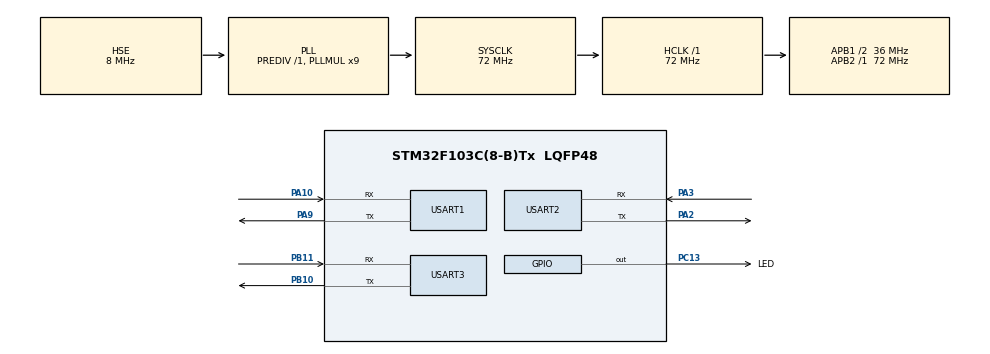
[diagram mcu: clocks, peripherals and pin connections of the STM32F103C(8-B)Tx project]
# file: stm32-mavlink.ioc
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Mcu.Family=STM32F1
Mcu.Name=STM32F103C(8-B)Tx
Mcu.Package=LQFP48
NVIC.PriorityGroup=NVIC_PRIORITYGROUP_4
NVIC.USART1_IRQn=true\:0\:0\:false\:false\:true\:true\:true\:true
NVIC.USART2_IRQn=true\:0\:0\:false\:false\:true\:true\:true\:true
PA10.Mode=Asynchronous
PA10.Signal=USART1_RX
PA13.Mode=Serial_Wire
PA13.Signal=SYS_JTMS-SWDIO
PA14.Mode=Serial_Wire
PA14.Signal=SYS_JTCK-SWCLK
PA2.Mode=Asynchronous
PA2.Signal=USART2_TX
PA3.Mode=Asynchronous
PA3.Signal=USART2_RX
PA9.Mode=Asynchronous
PA9.Signal=USART1_TX
PB10.Mode=Asynchronous
PB10.Signal=USART3_TX
PB11.Mode=Asynchronous
PB11.Signal=USART3_RX
PC13-TAMPER-RTC.GPIO_Label=LED
PC13-TAMPER-RTC.Signal=GPIO_Output
PD0-OSC_IN.Mode=HSE-External-Oscillator
PD0-OSC_IN.Signal=RCC_OSC_IN
PD1-OSC_OUT.Mode=HSE-External-Oscillator
PD1-OSC_OUT.Signal=RCC_OSC_OUT
ProjectManager.HeapSize=0x200
ProjectManager.StackSize=0x400
ProjectManager.TargetToolchain=CMake
RCC.AHBFreq_Value=72000000
RCC.APB1CLKDivider=RCC_HCLK_DIV2
RCC.APB1Freq_Value=36000000
RCC.APB1TimFreq_Value=72000000
RCC.APB2Freq_Value=72000000
RCC.APB2TimFreq_Value=72000000
RCC.HCLKFreq_Value=72000000
RCC.PLLMUL=RCC_PLL_MUL9
RCC.PLLSourceVirtual=RCC_PLLSOURCE_HSE
RCC.SYSCLKFreq_VALUE=72000000
RCC.SYSCLKSource=RCC_SYSCLKSOURCE_PLLCLK
RCC.USBFreq_Value=72000000
USART1.VirtualMode=VM_ASYNC
USART2.VirtualMode=VM_ASYNC
USART3.VirtualMode=VM_ASYNC
board=custom

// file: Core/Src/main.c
/* USER CODE BEGIN Header */
/**
  ******************************************************************************
  * @file           : main.c
  * @brief          : Main program body
  ******************************************************************************
  * @attention
  *
  * Copyright (c) 2026 STMicroelectronics.
  * All rights reserved.
  *
  * This software is licensed under terms that can be found in the LICENSE file
  * in the root directory of this software component.
  * If no LICENSE file comes with this software, it is provided AS-IS.
  *
  ******************************************************************************
  */
/* USER CODE END Header */
#include "main.h"
#include "usart.h"
#include "gpio.h"

/* USER CODE BEGIN Includes */
#include "config.h"
#include "ring_buffer.h"
#include "mavlink_handler.h"
#include "status_reporter.h"
#include <stdio.h>
/* USER CODE END Includes */

/* USER CODE BEGIN PV */
static MAVLinkBridge_t mavlink_bridge;
static StatusReporter_t status_reporter;
static uint8_t uart1_rx_byte;
static uint8_t uart2_rx_byte;
static uint8_t uart1_rx_buf[UART1_RX_BUFFER_SIZE];
static uint8_t uart2_rx_buf[UART2_RX_BUFFER_SIZE];
static RingBuffer_t rb_uart1;
static RingBuffer_t rb_uart2;
/* USER CODE END PV */

void SystemClock_Config(void);
/* USER CODE BEGIN PFP */
static bool WriteToGimbal(void *context, const uint8_t *data, uint16_t length);
static bool WriteToFlight(void *context, const uint8_t *data, uint16_t length);
static bool WriteToComputer(void *context, const uint8_t *data, uint16_t length);
/* USER CODE END PFP */

/* USER CODE BEGIN 0 */
/* Foreground blocking writes: RX interrupts remain enabled on both UARTs.
 * These HAL I/O limits are not a gimbal-link timeout policy. */
static bool WriteToGimbal(void *context, const uint8_t *data, uint16_t length) {
    (void)context;
    return HAL_UART_Transmit(&huart2, (uint8_t *)data, length, 100) == HAL_OK;
}

static bool WriteToComputer(void *context, const uint8_t *data, uint16_t length) {
    (void)context;
    return HAL_UART_Transmit(&huart3, (uint8_t *)data, length, 100) == HAL_OK;
}

static bool WriteToFlight(void *context, const uint8_t *data, uint16_t length) {
    (void)context;
    return HAL_UART_Transmit(&huart1, (uint8_t *)data, length, 100) == HAL_OK;
}

/* USER CODE END 0 */

int main(void)
{

  /* MCU Configuration--------------------------------------------------------*/

  /* Reset of all peripherals, Initializes the Flash interface and the Systick. */
  HAL_Init();

  /* Configure the system clock */
  SystemClock_Config();

  /* Initialize all configured peripherals */
  MX_GPIO_Init();
  MX_USART1_UART_Init();
  MX_USART2_UART_Init();
  MX_USART3_UART_Init();
  /* USER CODE BEGIN 2 */
    RingBuffer_Init(&rb_uart1, uart1_rx_buf, UART1_RX_BUFFER_SIZE);
    RingBuffer_Init(&rb_uart2, uart2_rx_buf, UART2_RX_BUFFER_SIZE);
    MAVLink_Init(&mavlink_bridge, WriteToFlight, WriteToGimbal, NULL);
    MAVLink_ConfigureAutomation(&mavlink_bridge, ENABLE_POINTING_AUTO_RESUME,
                                ENABLE_RANGE_REPORT);
    StatusReporter_Init(&status_reporter, WriteToComputer, NULL);
    HAL_UART_Receive_IT(&huart1, &uart1_rx_byte, 1);
    HAL_UART_Receive_IT(&huart2, &uart2_rx_byte, 1);

    MAVLink_SendHeartbeatIfDue(&mavlink_bridge, HAL_GetTick());
    char boot[192];
    int boot_length = snprintf(boot, sizeof(boot),
        "\r\n[BOOT] TZ130TM NATIVE | UART1=FC UART2=GIMBAL UART3=LOG | "
        "115200 8N1 | yaw_sign=%d pitch_sign=%d | HB=1Hz TEXT=5Hz\r\n",
        GIMBAL_YAW_SIGN, GIMBAL_PITCH_SIGN);
    if (boot_length > 0 && (size_t)boot_length < sizeof(boot)) {
        WriteToComputer(NULL, (const uint8_t *)boot, (uint16_t)boot_length);
    }
  bool reported_tx_last_loop = false;
/* USER CODE END 2 */

  /* Infinite loop */
  /* USER CODE BEGIN WHILE */
  while (1)
  {
    uint8_t byte;
    MAVLink_UpdateTime(&mavlink_bridge, HAL_GetTick());
    while (RingBuffer_Read(&rb_uart2, &byte)) {
        if (StatusReporter_FeedStatus(&status_reporter, byte)) {
            MAVLink_UpdateTime(&mavlink_bridge, HAL_GetTick());
            MAVLink_ObserveGimbal(&mavlink_bridge, &status_reporter.status);
        }
    }
    while (RingBuffer_Read(&rb_uart1, &byte)) {
        MAVLink_FeedByte(&mavlink_bridge, byte);
    }
    uint32_t now_ms = HAL_GetTick();
    MAVLink_SendHeartbeatIfDue(&mavlink_bridge, now_ms);
    /* Drain RX between a TX trace and the other debug output. */
    reported_tx_last_loop = !reported_tx_last_loop &&
        MAVLink_ReportTx(&mavlink_bridge, WriteToComputer, now_ms);
    if (!reported_tx_last_loop) {
        MAVLink_ReportControlOwner(&mavlink_bridge, WriteToComputer);
        MAVLink_Report(&mavlink_bridge, WriteToComputer, now_ms);
        StatusReporter_Report(&status_reporter, now_ms);
    }

    /* USER CODE END WHILE */

  }
}

void SystemClock_Config(void)
{
  RCC_OscInitTypeDef RCC_OscInitStruct = {0};
  RCC_ClkInitTypeDef RCC_ClkInitStruct = {0};

  /** Initializes the RCC Oscillators according to the specified parameters
  * in the RCC_OscInitTypeDef structure.
  */
  RCC_OscInitStruct.OscillatorType = RCC_OSCILLATORTYPE_HSE;
  RCC_OscInitStruct.HSEState = RCC_HSE_ON;
  RCC_OscInitStruct.HSEPredivValue = RCC_HSE_PREDIV_DIV1;
  RCC_OscInitStruct.HSIState = RCC_HSI_ON;
  RCC_OscInitStruct.PLL.PLLState = RCC_PLL_ON;
  RCC_OscInitStruct.PLL.PLLSource = RCC_PLLSOURCE_HSE;
  RCC_OscInitStruct.PLL.PLLMUL = RCC_PLL_MUL9;
  if (HAL_RCC_OscConfig(&RCC_OscInitStruct) != HAL_OK)
  {
    Error_Handler();
  }

  /** Initializes the CPU, AHB and APB buses clocks
  */
  RCC_ClkInitStruct.ClockType = RCC_CLOCKTYPE_HCLK|RCC_CLOCKTYPE_SYSCLK
                              |RCC_CLOCKTYPE_PCLK1|RCC_CLOCKTYPE_PCLK2;
  RCC_ClkInitStruct.SYSCLKSource = RCC_SYSCLKSOURCE_PLLCLK;
  RCC_ClkInitStruct.AHBCLKDivider = RCC_SYSCLK_DIV1;
  RCC_ClkInitStruct.APB1CLKDivider = RCC_HCLK_DIV2;
  RCC_ClkInitStruct.APB2CLKDivider = RCC_HCLK_DIV1;

  if (HAL_RCC_ClockConfig(&RCC_ClkInitStruct, FLASH_LATENCY_2) != HAL_OK)
  {
    Error_Handler();
  }
}

/* USER CODE BEGIN 4 */
/* Interrupts only capture bytes. Forwarding and formatting run in main(). */
void HAL_UART_RxCpltCallback(UART_HandleTypeDef *huart) {
    if (huart == &huart1) {
        RingBuffer_Write(&rb_uart1, uart1_rx_byte);
        HAL_UART_Receive_IT(&huart1, &uart1_rx_byte, 1);
    } else if (huart == &huart2) {
        RingBuffer_Write(&rb_uart2, uart2_rx_byte);
        HAL_UART_Receive_IT(&huart2, &uart2_rx_byte, 1);
    }
}

void HAL_UART_ErrorCallback(UART_HandleTypeDef *huart) {
    if (huart->RxState == HAL_UART_STATE_READY) {
        if (huart == &huart1) {
            HAL_UART_Receive_IT(&huart1, &uart1_rx_byte, 1);
        } else if (huart == &huart2) {
            HAL_UART_Receive_IT(&huart2, &uart2_rx_byte, 1);
        }
    }
}
/* USER CODE END 4 */

void Error_Handler(void)
{
  __disable_irq();
  while (1)
  {
  }
}
